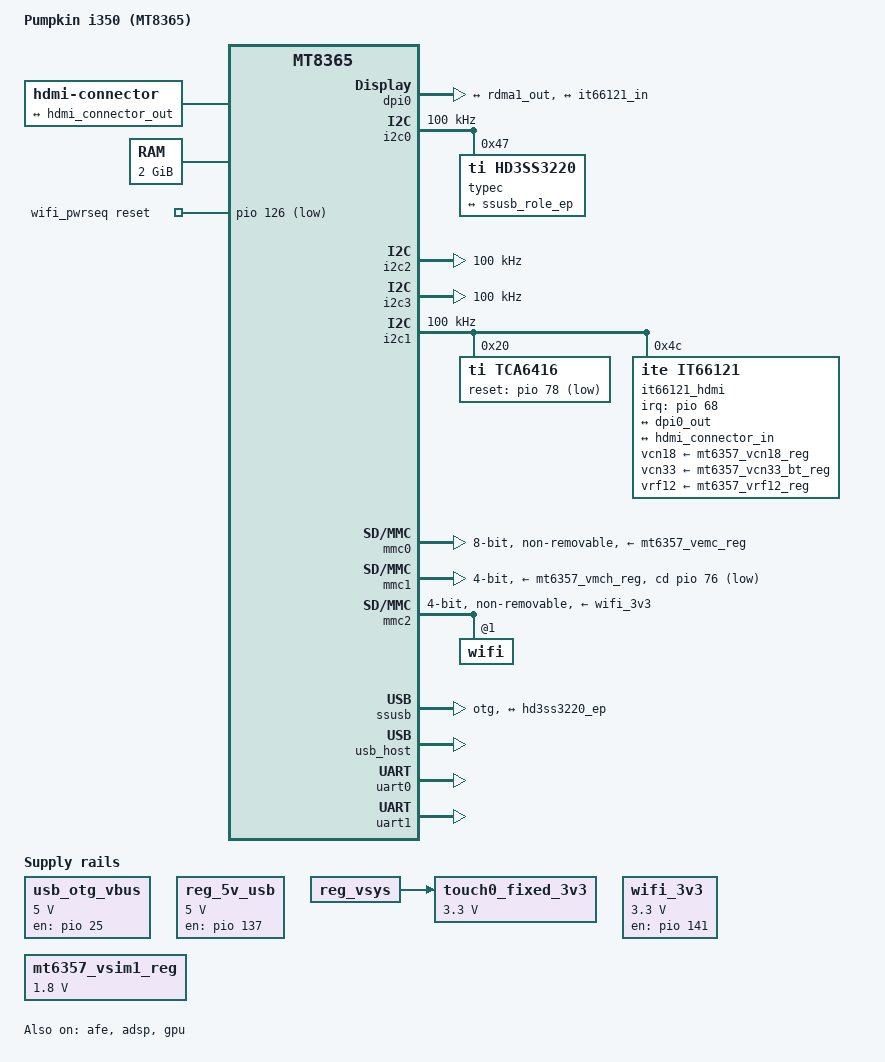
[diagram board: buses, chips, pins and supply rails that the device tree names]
// SPDX-License-Identifier: GPL-2.0
/*
 * Copyright (c) 2021-2022 BayLibre, SAS.
 * Authors:
 * Fabien Parent <fparent@baylibre.com>
 * Bernhard Rosenkränzer <bero@baylibre.com>
 * Alexandre Mergnat <amergnat@baylibre.com>
 */

/dts-v1/;

#include <dt-bindings/gpio/gpio.h>
#include <dt-bindings/input/input.h>
#include <dt-bindings/pinctrl/mt8365-pinfunc.h>
#include "mt8365.dtsi"
#include "mt6357.dtsi"

/ {
	model = "Pumpkin i350 (MT8365)";
	compatible = "mediatek,mt8365-pumpkin", "mediatek,mt8365-evk", "mediatek,mt8365";

	aliases {
		ethernet = &ethernet;
		mmc0 = &mmc0;
		mmc1 = &mmc1;
		serial0 = &uart0;
	};

	chosen {
		stdout-path = "serial0:115200n8";
	};

	connector {
		compatible = "hdmi-connector";
		label = "hdmi";
		type = "d";

		port {
			#address-cells = <1>;
			#size-cells = <0>;
			hdmi_connector_in: endpoint@0 {
				reg = <0>;
				remote-endpoint = <&hdmi_connector_out>;
			};
		};
	};

	firmware {
		optee {
			compatible = "linaro,optee-tz";
			method = "smc";
		};

		/*
		 * EL3 SCMI agent (BASE transport only). This node is enabled in
		 * source and carries its shmem so that the plain built
		 * mt8365-pumpkin.dtb -- the DTB the deb-efi-dtb eMMC boot actually
		 * loads -- is node-bearing: 038bd12c5bc4a fixed only the FID cell and
		 * explicitly left "this node must also reach the deployed DTB" open,
		 * and a treatment BL31 armed over UART-DL hands off to this eMMC
		 * kernel, not to the FIT. The SMT page is reserved as scmi_shmem below
		 * (arm,scmi.yaml requires shmem on arm,scmi-smc; with it present the
		 * node is binding-complete so dtbs_check passes). The FIT overlay
		 * mt8365-pumpkin-scmi.dtso (genio-mkfit.sh, GENIO350_SCMI=1) is
		 * unchanged: its same-path scmi_shmem node and shmem/status assignment
		 * merge onto this one, so the DRAM-boot tier still gates on a gate-on
		 * FIP while the eMMC tier is self-contained. On production firmware
		 * (no MTK_SCMI server) the enabled client's BASE probe SMC simply
		 * returns unsupported and no scmi devices register -- harmless.
		 */
		scmi: scmi {
			compatible = "arm,scmi-smc";
			/*
			 * The EL3 doorbell function ID, in the AArch64 calling
			 * convention. The firmware's SiP dispatcher keeps the
			 * 32-bit and 64-bit forms of every FID apart and matches
			 * the one against the caller's own execution state, so an
			 * AArch64 kernel calling the 32-bit form is refused rather
			 * than served.
			 */
			arm,smc-id = <0xc2000310>;
			shmem = <&scmi_shmem>;
			#address-cells = <1>;
			#size-cells = <0>;
			status = "okay";
		};
	};

	/* Pumpkin i350 has 2 GiB LPDDR4X (the EVK has 3 GiB). A too-large /memory makes
	 * the kernel allocate early page tables in the phantom top 1 GiB of non-existent
	 * RAM -> lost writes -> BUG_ON pud-conflict in paging_init. */
	memory@40000000 {
		device_type = "memory";
		reg = <0 0x40000000 0 0x80000000>;
	};

	usb_otg_vbus: regulator-0 {
		compatible = "regulator-fixed";
		regulator-name = "otg_vbus";
		regulator-min-microvolt = <5000000>;
		regulator-max-microvolt = <5000000>;
		/* Pumpkin: VBUS-drive is GPIO25 (USB_DRV), not the EVK's GPIO16 (PWM_A) */
		gpio = <&pio 25 GPIO_ACTIVE_HIGH>;
		enable-active-high;
	};

	/*
	 * 5VUSB_ENABLE -- board 5V rail that powers the Microchip LAN9512 hub and
	 * the two downstream USB-A ports. GPIO137 = 5VUSB_ENABLE per the OLogic
	 * Pumpkin GPIO workbook (i350_MT8365_GPIO_LIST). The vendor BSP DTS leaves
	 * it to the preloader/pull, but per the board GPIO map it is the hub's 5V
	 * enable, so assert it here (always-on) for the RJ45/USB-A to power up.
	 */
	reg_5v_usb: regulator-5v-usb {
		compatible = "regulator-fixed";
		regulator-name = "5vusb_enable";
		regulator-min-microvolt = <5000000>;
		regulator-max-microvolt = <5000000>;
		gpio = <&pio 137 GPIO_ACTIVE_HIGH>;
		enable-active-high;
		regulator-always-on;
		regulator-boot-on;
	};

	reg_vsys: regulator-vsys {
		compatible = "regulator-fixed";
		regulator-name = "vsys";
		regulator-always-on;
		regulator-boot-on;
	};

	touch0_fixed_3v3: regulator-vio33tp {
		compatible = "regulator-fixed";
		regulator-name = "vio33_tp";
		regulator-min-microvolt = <3300000>;
		regulator-max-microvolt = <3300000>;
		vin-supply = <&reg_vsys>;
	};

	/*
	 * MT7663S SDIO Wi-Fi 3V3 enable = WIFI_PWR_ENABLE = GPIO141 (per the
	 * OLogic GPIO workbook), used as mmc2 vmmc. MUST stay mmc-gated -- do NOT
	 * add regulator-always-on: the MT7663 needs AVDD33 to drop between boots
	 * to cold-reset, so a continuously-powered rail wedges it. Measured on the
	 * board (2026-06-21, EEPROM-baked Image, mt8365-wifi-stability.sh): GPIO141
	 * mmc-gated = 4/4 cold-boot enumerations (+ wlan0); GPIO141 + always-on =
	 * 0/6.
	 */
	wifi_3v3: regulator-wifi-3v3 {
		compatible = "regulator-fixed";
		regulator-name = "wifi_pwr_en";
		regulator-min-microvolt = <3300000>;
		regulator-max-microvolt = <3300000>;
		gpio = <&pio 141 GPIO_ACTIVE_HIGH>;
		enable-active-high;
	};

	/* MT7663S reset: MT7663_SYSRSTB = GPIO126 (active-low), released 100 ms
	 * after vmmc (WIFI_PWR_ENABLE) is up, before SDIO cmd5. */
	wifi_pwrseq: mmc2-pwrseq {
		compatible = "mmc-pwrseq-simple";
		reset-gpios = <&pio 126 GPIO_ACTIVE_LOW>;
		post-power-on-delay-ms = <100>;
	};

	reserved-memory {
		#address-cells = <2>;
		#size-cells = <2>;
		ranges;

		/* 192 KiB reserved for ARM Trusted Firmware (BL31) */
		bl31_secmon_reserved: secmon@43000000 {
			no-map;
			reg = <0 0x43000000 0 0x30000>;
		};

		/* SCMI SMT mailbox page (0x43030000), the doorbell the arm,scmi-smc
		 * client rings; sits in the gap after BL31's secmon carveout (ends
		 * 0x43030000) and before OP-TEE (0x43200000). Reserved no-map here so
		 * the eMMC-booted kernel is node-bearing; the FIT overlay carries the
		 * same-path node so fdtoverlay merges them without conflict. */
		scmi_shmem: shmem@43030000 {
			compatible = "arm,scmi-shmem";
			reg = <0 0x43030000 0 0x1000>;
			no-map;
		};

		/* 12 MiB reserved for OP-TEE (BL32)
		 * +-----------------------+ 0x43e0_0000
		 * |      SHMEM 2MiB       |
		 * +-----------------------+ 0x43c0_0000
		 * |        | TA_RAM  8MiB |
		 * + TZDRAM +--------------+ 0x4340_0000
		 * |        | TEE_RAM 2MiB |
		 * +-----------------------+ 0x4320_0000
		 */
		optee_reserved: optee@43200000 {
			no-map;
			reg = <0 0x43200000 0 0x00c00000>;
		};

		/*
		 * HiFi 4 audio DSP (SOF) carveout. adsp_mem is the 16 MiB
		 * firmware region at DRAM_BASE 0x60000000 (identity-mapped to
		 * the DSP view; DRAM_SIZE 0x1000000, host-shared window at
		 * SRAM1_BASE 0x60800000), transcribed from the open SOF mt8365
		 * platform memory map (sof/src/platform/mt8365/.../memory.h).
		 * adsp_dma_mem is the host<->DSP DMA pool immediately above it.
		 */
		adsp_dma_mem: memory@61000000 {
			compatible = "shared-dma-pool";
			no-map;
			reg = <0 0x61000000 0 0x100000>;
		};

		adsp_mem: memory@60000000 {
			compatible = "shared-dma-pool";
			no-map;
			reg = <0 0x60000000 0 0x1000000>;
		};
	};

	sound: sound {
		compatible = "mediatek,mt8365-mt6357";
		/*
		 * No DMIC: GPIO117/118/119 are CAM2_RST/CAM0_RST/CAM1_RST on the
		 * Pumpkin (per the OLogic GPIO workbook), not a digital mic. The
		 * EVK-clone aud_dmic_pins/dmic-mode have been dropped; analog audio
		 * runs through the MT6357 codec (AUD MOSI/MISO).
		 */
		pinctrl-names = "default",
				"miso_off",
				"miso_on",
				"mosi_off",
				"mosi_on";
		pinctrl-0 = <&aud_default_pins>;
		pinctrl-1 = <&aud_miso_off_pins>;
		pinctrl-2 = <&aud_miso_on_pins>;
		pinctrl-3 = <&aud_mosi_off_pins>;
		pinctrl-4 = <&aud_mosi_on_pins>;
		mediatek,platform = <&afe>;
	};

};

&afe {
	status = "okay";
};

&adsp {
	memory-region = <&adsp_dma_mem>, <&adsp_mem>;
	status = "okay";
};

&cpu0 {
	proc-supply = <&mt6357_vproc_reg>;
	sram-supply = <&mt6357_vsram_proc_reg>;
};

&cpu1 {
	proc-supply = <&mt6357_vproc_reg>;
	sram-supply = <&mt6357_vsram_proc_reg>;
};

&cpu2 {
	proc-supply = <&mt6357_vproc_reg>;
	sram-supply = <&mt6357_vsram_proc_reg>;
};

&cpu3 {
	proc-supply = <&mt6357_vproc_reg>;
	sram-supply = <&mt6357_vsram_proc_reg>;
};

&dpi0 {
	pinctrl-0 = <&dpi_default_pins>;
	pinctrl-1 = <&dpi_idle_pins>;
	pinctrl-names = "default", "sleep";
	/*
	 * Ethernet and HDMI (DPI0) share GPIO0-15 -- only one can be enabled at a
	 * time, and the physical switch SW2101 must be set to the HDMI position.
	 * HDMI is the Pumpkin's only display output (no LCM); &ethernet below is
	 * disabled to free these pins. The SoC RMII MAC is unused anyway (the live
	 * network path is a USB ethernet dongle).
	 */
	status = "okay";

	ports {
		#address-cells = <1>;
		#size-cells = <0>;

		port@0 {
			#address-cells = <1>;
			#size-cells = <0>;
			reg = <0>;
			dpi0_in: endpoint@1 {
				reg = <1>;
				remote-endpoint = <&rdma1_out>;
			};
		};

		port@1 {
			#address-cells = <1>;
			#size-cells = <0>;
			reg = <1>;
			dpi0_out: endpoint@1 {
				reg = <1>;
				remote-endpoint = <&it66121_in>;
			};
		};
	};
};

&ethernet {
	pinctrl-0 = <&ethernet_pins>;
	pinctrl-names = "default";
	phy-handle = <&eth_phy>;
	phy-mode = "rmii";
	/*
	 * SoC RMII MAC -- UNWIRED on the Pumpkin and left disabled. The RJ45 on
	 * this board is a Microchip LAN9512 USB hub+Ethernet (smsc95xx), reached
	 * via the TUSB322I/role-switch USB path, NOT this MAC: no PHY answers on
	 * its MDIO (verified, all 32 addresses) and GPIO0-15 here are hard-wired
	 * to HDMI. Kept only to document the dead RMII pinmux; do not enable.
	 * (There is no SW2101 mux switch on the Pumpkin -- that is an EVK part.)
	 */
	status = "disabled";

	mdio {
		#address-cells = <1>;
		#size-cells = <0>;

		eth_phy: ethernet-phy@0 {
			reg = <0>;
		};
	};
};

/*
 * MT7663S Wi-Fi PMIC companion 3V3 rail -- kept always-on so the SDIO card
 * responds (the GPIO141-gated wifi_3v3 is mmc2 vmmc; without this LDO on the
 * card never answers cmd5/cmd1). The EVK's vibr/vsim2 "RMII PHY" always-on
 * rails were dropped -- the Pumpkin has no RMII PHY (RJ45 = LAN9512 USB), no
 * vibrator, and no SIM.
 */
&mt6357_vcn33_wifi_reg {
	regulator-always-on;
};

&i2c0 {
	clock-frequency = <100000>;
	pinctrl-0 = <&i2c0_pins>;
	pinctrl-names = "default";
	status = "okay";

	/*
	 * The board's TI TUSB322I Type-C port controller at 0x47 (IRQ GPIO71 =
	 * USB_INT) does CC/role detection in hardware. Bound with the
	 * register-compatible ti,hd3ss3220 driver (proven on the i500's identical
	 * i2c0@0x47 TUSB322I, canonical 03c5a1e) as the usb-role-switch source --
	 * polled (no interrupt declared, so a userspace role override survives).
	 * Replaces the earlier GPIO39-IDDIG usb-conn-gpio path.
	 */
	typec@47 {
		compatible = "ti,hd3ss3220";
		reg = <0x47>;
		connector {
			compatible = "usb-c-connector";
			label = "usb-c";
			data-role = "dual";
			power-role = "dual";
			port {
				hd3ss3220_ep: endpoint {
					remote-endpoint = <&ssusb_role_ep>;
				};
			};
		};
	};
};

&i2c2 {
	clock-frequency = <100000>;
	pinctrl-0 = <&i2c2_pins>;
	pinctrl-names = "default";
	status = "okay";
};

&i2c3 {
	clock-frequency = <100000>;
	pinctrl-0 = <&i2c3_pins>;
	pinctrl-names = "default";
	status = "okay";
};

&i2c1 {
	#address-cells = <1>;
	#size-cells = <0>;
	clock-div = <2>;
	clock-frequency = <100000>;
	pinctrl-0 = <&i2c1_pins>;
	pinctrl-names = "default";
	status = "okay";

	/*
	 * TI TCA6416 I2C GPIO expander. On the Pumpkin this drives camera
	 * standby (cam_stdby), NOT the USB hub (the hub comes up via the
	 * gpio-usb-b-connector role switch on &ssusb + the 5VUSB_ENABLE rail).
	 * Reset is SoC GPIO78; interrupt is SoC GPIO79. From the vendor BSP DTS.
	 */
	tca6416: gpio@20 {
		compatible = "ti,tca6416";
		reg = <0x20>;
		reset-gpios = <&pio 78 GPIO_ACTIVE_LOW>;
		pinctrl-0 = <&tca6416_pins>;
		pinctrl-names = "default";
		gpio-controller;
		#gpio-cells = <2>;
		/*
		 * Vendor BSP hogs expander lines 12+2 low for camera standby
		 * (cam_stdby); omitted here as the Pumpkin DTS has no camera node.
		 */
	};

	it66121_hdmi: hdmi@4c {
		compatible = "ite,it66121";
		reg = <0x4c>;
		#sound-dai-cells = <0>;
		interrupt-parent = <&pio>;
		interrupts = <68 IRQ_TYPE_LEVEL_LOW>;
		pinctrl-0 = <&ite_pins>;
		pinctrl-names = "default";
		/* No reset-gpios: GPIO69 is the EVK-clone reset, not a usable
		 * it66121 reset on the Pumpkin i350 -- pulsing it (the driver's
		 * it66121_hw_reset) leaves the chip unresponsive on i2c, so the
		 * ID read fails and probe returns -ENODEV silently (dpi then
		 * "Failed to get bridge"). The chip self-inits from power-on;
		 * the driver makes reset-gpios optional. Same fix as the i500
		 * (mt8183-pumpkin.dts). */
		/* Pumpkin it66121 power rails per the vendor BSP DTS (mtk-v5.10) --
		 * vcn33_bt + vcn18, NOT the EVK's vibr/vsim2 (which left the chip
		 * mis-powered -> no i2c response). See the vendor-DTS audit section. */
		vcn18-supply = <&mt6357_vcn18_reg>;
		vcn33-supply = <&mt6357_vcn33_bt_reg>;
		vrf12-supply = <&mt6357_vrf12_reg>;

		ports {
			#address-cells = <1>;
			#size-cells = <0>;

			port@0 {
				#address-cells = <1>;
				#size-cells = <0>;
				reg = <0>;
				it66121_in: endpoint@0 {
					reg = <0>;
					bus-width = <12>;
					remote-endpoint = <&dpi0_out>;
				};
			};

			port@1 {
				#address-cells = <1>;
				#size-cells = <0>;
				reg = <1>;
				hdmi_connector_out: endpoint@0 {
					reg = <0>;
					remote-endpoint = <&hdmi_connector_in>;
				};
			};
		};
	};
};

&gpu {
	mali-supply = <&mt6357_vcore_reg>;
	status = "okay";
};

&mfg {
	domain-supply = <&mt6357_vsram_others_reg>;
};

&mmc0 {
	assigned-clock-parents = <&topckgen CLK_TOP_MSDCPLL>;
	assigned-clocks = <&topckgen CLK_TOP_MSDC50_0_SEL>;
	bus-width = <8>;
	cap-mmc-highspeed;
	cap-mmc-hw-reset;
	hs400-ds-delay = <0x12012>;
	max-frequency = <200000000>;
	mmc-hs200-1_8v;
	mmc-hs400-1_8v;
	no-sd;
	no-sdio;
	non-removable;
	pinctrl-0 = <&mmc0_default_pins>;
	pinctrl-1 = <&mmc0_uhs_pins>;
	pinctrl-names = "default", "state_uhs";
	vmmc-supply = <&mt6357_vemc_reg>;
	vqmmc-supply = <&mt6357_vio18_reg>;
	status = "okay";
};

&mmc1 {
	bus-width = <4>;
	cap-sd-highspeed;
	cd-gpios = <&pio 76 GPIO_ACTIVE_LOW>;
	/*
	 * The msdc1 SD source clock is 208 MHz (univpll2_d2), and SDR104's spec
	 * maximum is 208 MHz. A max-frequency of 200 MHz made the core request
	 * 200 MHz, which msdc_set_mclk rounds DOWN to a source/2 divider =
	 * 104 MHz (mode 0x0) -- half the achievable rate (~45 MB/s). Setting it
	 * to the full 208 MHz source lets SDR104 run at source/1 (mode 0x1, no
	 * divisor) = 208 MHz: ~2x the bus clock, strobe-free, standard SD
	 * signalling. HW-validated on the SanDisk SR128 (Genio 350 Pumpkin):
	 * 69 MB/s sustained read / 68.6 MB/s write, md5-correct, 0 CRC errors.
	 * (SD DDR200 does not help on this SoC: its mode-0x2 clock is mux-walled
	 * at 52 MHz DDR and its mode-0x3 104 MHz DDR gives an all-zero RX eye.)
	 */
	max-frequency = <208000000>;
	pinctrl-0 = <&mmc1_default_pins>;
	pinctrl-1 = <&mmc1_uhs_pins>;
	pinctrl-names = "default", "state_uhs";
	sd-uhs-sdr104;
	sd-uhs-sdr50;
	vmmc-supply = <&mt6357_vmch_reg>;
	vqmmc-supply = <&mt6357_vmc_reg>;
	status = "okay";
};

/* MT7663S SDIO Wi-Fi -- auto-probes on the SDIO bus; calibration comes from the
 * EEPROM_MT7663.bin firmware fallback in the mt76 driver, not a DT node. */
&mmc2 {
	bus-width = <4>;
	cap-sd-highspeed;
	sd-uhs-sdr25;
	sd-uhs-sdr50;
	sd-uhs-sdr104;
	max-frequency = <200000000>;
	cap-sdio-irq;
	keep-power-in-suspend;
	enable-sdio-wakeup;
	mediatek,disable-single-burst;
	non-removable;
	mmc-pwrseq = <&wifi_pwrseq>;
	pinctrl-0 = <&mmc2_default_pins>;
	pinctrl-1 = <&mmc2_uhs_pins>;
	pinctrl-names = "default", "state_uhs";
	vmmc-supply = <&wifi_3v3>;
	vqmmc-supply = <&mt6357_vcn18_reg>;
	status = "okay";

	#address-cells = <1>;
	#size-cells = <0>;

	/* MT7663 Wi-Fi (SDIO function 1): vendor RF calibration + MAC from the
	 * AIoT-BSP EEPROM_MT7663.bin. mt76 reads mediatek,eeprom-data from this
	 * function node when the on-die efuse is blank, giving the real MAC
	 * (00:0c:43:26:60:00) + per-channel TX-power cal instead of mt76's
	 * random MAC + default cal. */
	wifi@1 {
		reg = <1>;
		mediatek,eeprom-data = [
			63 76 02 03 00 0c 43 26 60 00 63 76 c3 14 00 80
			02 00 63 76 c3 14 00 00 00 00 00 00 00 00 00 00
			00 00 00 00 00 00 00 00 00 00 00 00 00 00 e7 00
			00 00 80 00 00 00 08 00 01 00 00 00 00 00 00 00
			00 00 00 00 00 00 00 00 00 00 9c 00 00 00 03 00
			00 00 00 00 00 00 00 00 00 00 00 00 00 00 00 00
			00 00 00 00 00 00 00 00 00 00 00 00 00 00 00 00
			c6 c6 c4 c4 c2 c1 00 c2 00 c2 c1 00 00 81 84 85
			c2 c2 c1 81 81 82 85 86 00 c5 c5 c2 c2 00 c3 00
			c3 c1 00 00 82 84 84 c3 c3 c1 00 00 82 84 84 00
			c3 c3 c1 00 00 82 84 84 00 00 00 00 00 00 00 00
			cb dc 1f 17 17 17 11 09 09 09 40 40 40 40 00 00
			00 00 00 00 00 00 00 00 00 00 00 00 00 00 00 00
			00 00 00 00 00 00 00 00 00 00 00 00 00 00 00 3c
			10 c3 c6 25 00 00 00 00 00 00 00 00 00 00 00 00
			10 43 c6 25 00 00 00 00 00 00 00 00 00 00 00 00
			00 00 00 00 00 00 00 00 00 00 00 00 00 00 00 00
			00 00 00 00 00 00 00 00 00 00 00 00 00 00 00 00
			00 00 00 00 00 00 00 00 00 00 00 00 00 00 00 00
			03 00 00 00 00 00 00 77 07 00 00 00 00 00 00 00
			00 00 00 00 00 00 00 00 00 00 00 00 00 00 00 00
			00 00 00 00 08 00 e0 01 00 00 00 00 00 00 00 00
			00 00 00 00 00 00 00 00 00 00 00 00 00 00 00 00
			00 00 00 00 00 00 00 00 00 10 10 28 00 00 00 00
			00 00 00 00 00 00 00 00 00 00 00 00 00 00 00 00
			00 00 00 00 00 00 00 00 00 00 00 00 00 00 00 00
			00 00 00 00 00 00 00 00 00 00 00 00 00 00 00 00
			12 12 02 00 00 00 00 05 00 00 00 00 86 00 00 00
			00 00 00 00 00 00 00 00 00 00 00 00 00 00 00 00
			00 00 00 00 00 00 00 00 00 00 00 00 00 00 00 00
			00 00 00 00 00 00 00 00 00 00 00 00 00 00 00 00
			cc d8 cc d8 cc d8 cc d8 cc d8 cc d8 cc d8 cc d8
			1f 12 12 12 13 06 06 06 40 40 40 40 00 00 00 00
			00 00 00 00 00 00 00 00 00 00 00 00 00 00 00 00
			00 00 00 00 00 00 00 00 00 00 00 00 00 00 00 00
			00 00 00 00 00 00 00 00 00 00 00 3a 00 00 00 00
			40 40 40 41 cb 22 41 cb 22 41 cb 22 41 cb 22 41
			cb 22 41 cb 22 41 cb 22 41 cb 22 00 00 00 00 00
			00 00 00 00 00 00 00 00 00 00 00 00 00 00 00 00
			00 00 00 00 00 00 00 00 00 00 00 00 00 00 00 00
			00 00 00 00 00 00 00 00 00 00 00 00 00 00 00 00
			00 00 00 00 00 00 00 00 00 00 00 00 00 00 00 00
			00 00 00 00 00 00 00 00 00 00 00 00 00 00 00 00
			40 40 40 41 cb 22 41 cb 22 41 cb 22 41 cb 22 41
			cb 22 41 cb 22 41 cb 22 41 cb 22 00 00 00 00 00
			00 00 00 00 00 00 00 00 00 00 00 00 00 00 00 00
			00 00 00 00 00 00 00 00 00 00 00 00 00 00 00 00
			00 00 00 00 00 00 00 00 00 00 00 00 00 00 00 00
			00 00 00 00 00 00 00 00 00 00 00 00 00 00 00 00
			00 00 00 00 00 00 00 00 00 00 00 00 00 00 00 00
			00 00 00 00 00 00 00 00 00 00 00 00 00 00 00 00
			00 00 00 00 00 00 00 00 00 00 00 00 00 00 00 00
			00 00 00 00 00 00 00 00 00 00 00 00 00 00 00 00
			00 00 00 00 00 00 00 00 00 00 00 00 00 00 00 00
			00 00 00 00 00 00 00 00 00 00 00 00 00 00 00 00
			00 00 00 00 00 00 00 00 00 00 00 00 00 00 00 00
			00 00 00 00 00 00 00 00 00 00 00 00 00 00 00 00
			00 00 00 00 00 00 00 00 00 00 00 00 00 00 00 00
			00 00 00 00 00 00 00 00 00 00 00 00 00 00 00 00
			00 00 00 00 00 00 00 00 00 00 00 00 00 00 00 00
			00 00 00 00 00 00 00 00 00 00 00 00 00 00 00 00
			00 00 00 00 00 00 00 00 00 00 00 00 00 00 00 00
			00 00 00 00 00 00 00 00 00 00 00 00 00 00 00 00
			00 00 00 00 00 00 00 00 00 00 00 00 00 00 00 00
			00 00 00 00 00 00 00 00 00 00 00 00 00 00 00 00
			00 00 00 00 00 00 00 00 00 00 00 00 00 00 00 00
			00 00 00 00 00 00 00 00 00 00 00 00 00 00 00 00
			00 00 00 00 00 00 00 00 00 00 00 00 00 00 00 00
			00 00 00 00 00 00 00 00 00 00 00 00 00 00 00 00
			00 00 00 00 00 00 00 00 00 00 00 00 00 00 00 00
			00 00 00 00 00 00 00 00 00 00 00 00 00 00 00 00
			00 00 00 00 00 00 00 00 00 00 00 00 00 00 00 00
			00 00 00 00 00 00 00 00 00 00 00 00 00 00 00 00
			00 00 00 00 00 00 00 00 00 00 00 00 00 00 00 00
			00 00 00 00 00 00 00 00 00 00 00 00 00 00 00 00
			00 00 00 00 00 00 00 00 00 00 00 00 00 00 00 00
			00 00 00 00 00 00 00 00 00 00 00 00 00 00 00 00
			00 00 00 00 00 00 00 00 00 00 00 00 00 00 00 00
			00 00 00 00 00 00 00 00 00 00 00 00 00 00 00 00
			00 00 00 00 00 00 00 00 00 00 00 00 00 00 00 00
			00 00 00 00 00 00 00 00 00 00 00 00 00 00 00 00
			00 00 00 00 00 00 00 00 00 00 00 00 00 00 00 00
			00 00 00 00 00 00 00 00 00 00 00 00 00 00 00 00
			00 00 00 00 00 00 00 00 00 00 00 00 00 00 00 00
			00 00 00 00 00 00 00 00 00 00 00 00 00 00 00 00
			00 00 00 00 00 00 00 00 00 00 00 00 00 00 00 00
			00 00 00 00 00 00 00 00 00 00 00 00 00 00 00 00
			00 00 00 00 00 00 00 00 00 00 00 00 00 00 00 00
			00 00 00 00 00 00 00 00 00 00 00 00 00 00 00 00
			00 00 00 00 00 00 00 00 00 00 00 00 00 00 00 00
			00 00 00 00 00 00 00 00 00 00 00 00 00 00 00 00
			00 00 00 00 00 00 00 00 00 00 00 00 00 00 00 00
			00 00 00 00 00 00 00 00 00 00 00 00 00 00 00 00
			00 00 00 00 00 00 00 00 00 00 00 00 00 00 00 00
			00 00 00 00 00 00 00 00 00 00 00 00 00 00 00 00
			00 00 00 00 00 00 00 00 00 00 00 00 00 00 00 00
		];
	};
};

&mt6357_pmic {
	interrupts-extended = <&pio 145 IRQ_TYPE_LEVEL_HIGH>;
	interrupt-controller;
	#interrupt-cells = <2>;
	mediatek,micbias0-microvolt = <1900000>;
	mediatek,micbias1-microvolt = <1700000>;
};

&mt6357_vsim1_reg {
	regulator-min-microvolt = <1800000>;
	regulator-max-microvolt = <1800000>;
};

&pio {
	aud_default_pins: audiodefault-pins {
		clk-dat-pins {
			pinmux = <MT8365_PIN_72_CMDAT4__FUNC_I2S3_BCK>,
				 <MT8365_PIN_73_CMDAT5__FUNC_I2S3_LRCK>,
				 <MT8365_PIN_74_CMDAT6__FUNC_I2S3_MCK>,
				 <MT8365_PIN_75_CMDAT7__FUNC_I2S3_DO>;
		};
	};

	aud_miso_off_pins: misooff-pins {
		clk-dat-pins {
			pinmux = <MT8365_PIN_53_AUD_CLK_MISO__FUNC_GPIO53>,
				 <MT8365_PIN_54_AUD_SYNC_MISO__FUNC_GPIO54>,
				 <MT8365_PIN_55_AUD_DAT_MISO0__FUNC_GPIO55>,
				 <MT8365_PIN_56_AUD_DAT_MISO1__FUNC_GPIO56>;
			input-enable;
			bias-pull-down;
			drive-strength = <2>;
		};
	};

	aud_miso_on_pins: misoon-pins {
		clk-dat-pins {
			pinmux = <MT8365_PIN_53_AUD_CLK_MISO__FUNC_AUD_CLK_MISO>,
				 <MT8365_PIN_54_AUD_SYNC_MISO__FUNC_AUD_SYNC_MISO>,
				 <MT8365_PIN_55_AUD_DAT_MISO0__FUNC_AUD_DAT_MISO0>,
				 <MT8365_PIN_56_AUD_DAT_MISO1__FUNC_AUD_DAT_MISO1>;
			drive-strength = <6>;
		};
	};

	aud_mosi_off_pins: mosioff-pins {
		clk-dat-pins {
			pinmux = <MT8365_PIN_49_AUD_CLK_MOSI__FUNC_GPIO49>,
				 <MT8365_PIN_50_AUD_SYNC_MOSI__FUNC_GPIO50>,
				 <MT8365_PIN_51_AUD_DAT_MOSI0__FUNC_GPIO51>,
				 <MT8365_PIN_52_AUD_DAT_MOSI1__FUNC_GPIO52>;
			input-enable;
			bias-pull-down;
			drive-strength = <2>;
		};
	};

	aud_mosi_on_pins: mosion-pins {
		clk-dat-pins {
			pinmux = <MT8365_PIN_49_AUD_CLK_MOSI__FUNC_AUD_CLK_MOSI>,
				 <MT8365_PIN_50_AUD_SYNC_MOSI__FUNC_AUD_SYNC_MOSI>,
				 <MT8365_PIN_51_AUD_DAT_MOSI0__FUNC_AUD_DAT_MOSI0>,
				 <MT8365_PIN_52_AUD_DAT_MOSI1__FUNC_AUD_DAT_MOSI1>;
			drive-strength = <6>;
		};
	};

	dpi_default_pins: dpi-default-pins {
		pins {
			pinmux = <MT8365_PIN_0_GPIO0__FUNC_DPI_D0>,
				 <MT8365_PIN_1_GPIO1__FUNC_DPI_D1>,
				 <MT8365_PIN_2_GPIO2__FUNC_DPI_D2>,
				 <MT8365_PIN_3_GPIO3__FUNC_DPI_D3>,
				 <MT8365_PIN_4_GPIO4__FUNC_DPI_D4>,
				 <MT8365_PIN_5_GPIO5__FUNC_DPI_D5>,
				 <MT8365_PIN_6_GPIO6__FUNC_DPI_D6>,
				 <MT8365_PIN_7_GPIO7__FUNC_DPI_D7>,
				 <MT8365_PIN_8_GPIO8__FUNC_DPI_D8>,
				 <MT8365_PIN_9_GPIO9__FUNC_DPI_D9>,
				 <MT8365_PIN_10_GPIO10__FUNC_DPI_D10>,
				 <MT8365_PIN_11_GPIO11__FUNC_DPI_D11>,
				 <MT8365_PIN_12_GPIO12__FUNC_DPI_DE>,
				 <MT8365_PIN_13_GPIO13__FUNC_DPI_VSYNC>,
				 <MT8365_PIN_14_GPIO14__FUNC_DPI_CK>,
				 <MT8365_PIN_15_GPIO15__FUNC_DPI_HSYNC>;
			drive-strength = <4>;
		};
	};

	dpi_idle_pins: dpi-idle-pins {
		pins {
			pinmux = <MT8365_PIN_0_GPIO0__FUNC_GPIO0>,
				 <MT8365_PIN_1_GPIO1__FUNC_GPIO1>,
				 <MT8365_PIN_2_GPIO2__FUNC_GPIO2>,
				 <MT8365_PIN_3_GPIO3__FUNC_GPIO3>,
				 <MT8365_PIN_4_GPIO4__FUNC_GPIO4>,
				 <MT8365_PIN_5_GPIO5__FUNC_GPIO5>,
				 <MT8365_PIN_6_GPIO6__FUNC_GPIO6>,
				 <MT8365_PIN_7_GPIO7__FUNC_GPIO7>,
				 <MT8365_PIN_8_GPIO8__FUNC_GPIO8>,
				 <MT8365_PIN_9_GPIO9__FUNC_GPIO9>,
				 <MT8365_PIN_10_GPIO10__FUNC_GPIO10>,
				 <MT8365_PIN_11_GPIO11__FUNC_GPIO11>,
				 <MT8365_PIN_12_GPIO12__FUNC_GPIO12>,
				 <MT8365_PIN_13_GPIO13__FUNC_GPIO13>,
				 <MT8365_PIN_14_GPIO14__FUNC_GPIO14>,
				 <MT8365_PIN_15_GPIO15__FUNC_GPIO15>;
		};
	};

	ethernet_pins: ethernet-pins {
		rmii_pins {
			pinmux = <MT8365_PIN_0_GPIO0__FUNC_EXT_TXD0>,
				 <MT8365_PIN_1_GPIO1__FUNC_EXT_TXD1>,
				 <MT8365_PIN_2_GPIO2__FUNC_EXT_TXD2>,
				 <MT8365_PIN_3_GPIO3__FUNC_EXT_TXD3>,
				 <MT8365_PIN_4_GPIO4__FUNC_EXT_TXC>,
				 <MT8365_PIN_5_GPIO5__FUNC_EXT_RXER>,
				 <MT8365_PIN_6_GPIO6__FUNC_EXT_RXC>,
				 <MT8365_PIN_7_GPIO7__FUNC_EXT_RXDV>,
				 <MT8365_PIN_8_GPIO8__FUNC_EXT_RXD0>,
				 <MT8365_PIN_9_GPIO9__FUNC_EXT_RXD1>,
				 <MT8365_PIN_10_GPIO10__FUNC_EXT_RXD2>,
				 <MT8365_PIN_11_GPIO11__FUNC_EXT_RXD3>,
				 <MT8365_PIN_12_GPIO12__FUNC_EXT_TXEN>,
				 <MT8365_PIN_13_GPIO13__FUNC_EXT_COL>,
				 <MT8365_PIN_14_GPIO14__FUNC_EXT_MDIO>,
				 <MT8365_PIN_15_GPIO15__FUNC_EXT_MDC>;
		};
	};

	i2c0_pins: i2c0-pins {
		pins {
			pinmux = <MT8365_PIN_57_SDA0__FUNC_SDA0_0>,
				 <MT8365_PIN_58_SCL0__FUNC_SCL0_0>;
			bias-pull-up;
		};
	};

	i2c1_pins: i2c1-pins {
		pins {
			pinmux = <MT8365_PIN_59_SDA1__FUNC_SDA1_0>,
				 <MT8365_PIN_60_SCL1__FUNC_SCL1_0>;
			bias-pull-up;
		};
	};

	i2c2_pins: i2c2-pins {
		pins {
			pinmux = <MT8365_PIN_61_SDA2__FUNC_SDA2_0>,
				 <MT8365_PIN_62_SCL2__FUNC_SCL2_0>;
			bias-pull-up;
		};
	};

	i2c3_pins: i2c3-pins {
		pins {
			pinmux = <MT8365_PIN_63_SDA3__FUNC_SDA3_0>,
				 <MT8365_PIN_64_SCL3__FUNC_SCL3_0>;
			bias-pull-up;
		};
	};

	ite_pins: ite-pins {
		irq_ite_pins {
			pinmux = <MT8365_PIN_68_CMDAT0__FUNC_GPIO68>;
			input-enable;
			bias-pull-up;
		};

		rst_ite_pins {
			pinmux = <MT8365_PIN_69_CMDAT1__FUNC_GPIO69>;
			output-high;
		};
	};

	mmc0_default_pins: mmc0-default-pins {
		clk-pins {
			pinmux = <MT8365_PIN_99_MSDC0_CLK__FUNC_MSDC0_CLK>;
			bias-pull-down;
		};

		cmd-dat-pins {
			pinmux = <MT8365_PIN_103_MSDC0_DAT0__FUNC_MSDC0_DAT0>,
				 <MT8365_PIN_102_MSDC0_DAT1__FUNC_MSDC0_DAT1>,
				 <MT8365_PIN_101_MSDC0_DAT2__FUNC_MSDC0_DAT2>,
				 <MT8365_PIN_100_MSDC0_DAT3__FUNC_MSDC0_DAT3>,
				 <MT8365_PIN_96_MSDC0_DAT4__FUNC_MSDC0_DAT4>,
				 <MT8365_PIN_95_MSDC0_DAT5__FUNC_MSDC0_DAT5>,
				 <MT8365_PIN_94_MSDC0_DAT6__FUNC_MSDC0_DAT6>,
				 <MT8365_PIN_93_MSDC0_DAT7__FUNC_MSDC0_DAT7>,
				 <MT8365_PIN_98_MSDC0_CMD__FUNC_MSDC0_CMD>;
			input-enable;
			bias-pull-up;
		};

		rst-pins {
			pinmux = <MT8365_PIN_97_MSDC0_RSTB__FUNC_MSDC0_RSTB>;
			bias-pull-up;
		};
	};

	mmc0_uhs_pins: mmc0-uhs-pins {
		clk-pins {
			pinmux = <MT8365_PIN_99_MSDC0_CLK__FUNC_MSDC0_CLK>;
			drive-strength = <MTK_DRIVE_10mA>;
			bias-pull-down = <MTK_PUPD_SET_R1R0_10>;
		};

		cmd-dat-pins {
			pinmux = <MT8365_PIN_103_MSDC0_DAT0__FUNC_MSDC0_DAT0>,
				 <MT8365_PIN_102_MSDC0_DAT1__FUNC_MSDC0_DAT1>,
				 <MT8365_PIN_101_MSDC0_DAT2__FUNC_MSDC0_DAT2>,
				 <MT8365_PIN_100_MSDC0_DAT3__FUNC_MSDC0_DAT3>,
				 <MT8365_PIN_96_MSDC0_DAT4__FUNC_MSDC0_DAT4>,
				 <MT8365_PIN_95_MSDC0_DAT5__FUNC_MSDC0_DAT5>,
				 <MT8365_PIN_94_MSDC0_DAT6__FUNC_MSDC0_DAT6>,
				 <MT8365_PIN_93_MSDC0_DAT7__FUNC_MSDC0_DAT7>,
				 <MT8365_PIN_98_MSDC0_CMD__FUNC_MSDC0_CMD>;
			input-enable;
			drive-strength = <MTK_DRIVE_10mA>;
			bias-pull-up = <MTK_PUPD_SET_R1R0_01>;
		};

		ds-pins {
			pinmux = <MT8365_PIN_104_MSDC0_DSL__FUNC_MSDC0_DSL>;
			drive-strength = <MTK_DRIVE_10mA>;
			bias-pull-down = <MTK_PUPD_SET_R1R0_10>;
		};

		rst-pins {
			pinmux = <MT8365_PIN_97_MSDC0_RSTB__FUNC_MSDC0_RSTB>;
			drive-strength = <MTK_DRIVE_10mA>;
			bias-pull-up;
		};
	};

	mmc1_default_pins: mmc1-default-pins {
		cd-pins {
			pinmux = <MT8365_PIN_76_CMDAT8__FUNC_GPIO76>;
			bias-pull-up;
		};

		clk-pins {
			pinmux = <MT8365_PIN_88_MSDC1_CLK__FUNC_MSDC1_CLK>;
			bias-pull-down = <MTK_PUPD_SET_R1R0_10>;
		};

		cmd-dat-pins {
			pinmux = <MT8365_PIN_89_MSDC1_DAT0__FUNC_MSDC1_DAT0>,
				 <MT8365_PIN_90_MSDC1_DAT1__FUNC_MSDC1_DAT1>,
				 <MT8365_PIN_91_MSDC1_DAT2__FUNC_MSDC1_DAT2>,
				 <MT8365_PIN_92_MSDC1_DAT3__FUNC_MSDC1_DAT3>,
				 <MT8365_PIN_87_MSDC1_CMD__FUNC_MSDC1_CMD>;
			input-enable;
			bias-pull-up = <MTK_PUPD_SET_R1R0_01>;
		};
	};

	mmc1_uhs_pins: mmc1-uhs-pins {
		clk-pins {
			pinmux = <MT8365_PIN_88_MSDC1_CLK__FUNC_MSDC1_CLK>;
			drive-strength = <8>;
			bias-pull-down = <MTK_PUPD_SET_R1R0_10>;
		};

		cmd-dat-pins {
			pinmux = <MT8365_PIN_89_MSDC1_DAT0__FUNC_MSDC1_DAT0>,
				 <MT8365_PIN_90_MSDC1_DAT1__FUNC_MSDC1_DAT1>,
				 <MT8365_PIN_91_MSDC1_DAT2__FUNC_MSDC1_DAT2>,
				 <MT8365_PIN_92_MSDC1_DAT3__FUNC_MSDC1_DAT3>,
				 <MT8365_PIN_87_MSDC1_CMD__FUNC_MSDC1_CMD>;
			input-enable;
			drive-strength = <6>;
			bias-pull-up = <MTK_PUPD_SET_R1R0_01>;
		};
	};

	mmc2_default_pins: mmc2-default-pins {
		cmd-dat-pins {
			pinmux = <0x5201>, <0x5301>, <0x5401>, <0x5501>, <0x5001>;
			input-enable;
			drive-strength = <4>;
			bias-pull-up = <MTK_PUPD_SET_R1R0_01>;
		};
		clk-pins {
			pinmux = <0x5101>;
			drive-strength = <4>;
			bias-pull-down = <MTK_PUPD_SET_R1R0_10>;
		};
		/* MT7663S WIFI_PWR_ENABLE (GPIO141) + MT7663_SYSRSTB (GPIO126). */
		wifi-en-pins {
			pinmux = <MT8365_PIN_141_CONN_BT_DATA__FUNC_GPIO141>,
				 <MT8365_PIN_126_DMIC3_CLK__FUNC_GPIO126>;
		};
	};

	mmc2_uhs_pins: mmc2-uhs-pins {
		cmd-dat-pins {
			pinmux = <0x5201>, <0x5301>, <0x5401>, <0x5501>, <0x5001>;
			input-enable;
			drive-strength = <8>;
			bias-pull-up = <MTK_PUPD_SET_R1R0_01>;
		};
		clk-pins {
			pinmux = <0x5101>;
			drive-strength = <8>;
			bias-pull-down = <MTK_PUPD_SET_R1R0_10>;
		};
		ds-pins {
			pinmux = <0x5601>;
			drive-strength = <8>;
			bias-pull-down = <MTK_PUPD_SET_R1R0_10>;
		};
		wifi-en-pins {
			pinmux = <MT8365_PIN_141_CONN_BT_DATA__FUNC_GPIO141>,
				 <MT8365_PIN_126_DMIC3_CLK__FUNC_GPIO126>;
		};
	};

	uart0_pins: uart0-pins {
		pins {
			pinmux = <MT8365_PIN_35_URXD0__FUNC_URXD0>,
				 <MT8365_PIN_36_UTXD0__FUNC_UTXD0>;
		};
	};

	uart1_pins: uart1-pins {
		pins {
			pinmux = <MT8365_PIN_37_URXD1__FUNC_URXD1>,
				 <MT8365_PIN_38_UTXD1__FUNC_UTXD1>;
		};
	};

	uart2_pins: uart2-pins {
		pins {
			pinmux = <MT8365_PIN_39_URXD2__FUNC_URXD2>,
				 <MT8365_PIN_40_UTXD2__FUNC_UTXD2>;
		};
	};

	usb_pins: usb-pins {
		/*
		 * LAN9512 hub reset (HUB_RST), released (driven low) so the hub
		 * comes out of reset once the role switch goes to host. Vendor
		 * BSP drives GPIO70 output-low.
		 */
		pin_hub_rst {
			pinmux = <MT8365_PIN_70_CMDAT2__FUNC_GPIO70>;
			output-low;
		};

		pin_id {
			pinmux = <MT8365_PIN_39_URXD2__FUNC_GPIO39>;
			input-enable;
			bias-pull-up;
		};

		pins_vbus {
			pinmux = <MT8365_PIN_25_KPCOL1__FUNC_USB_DRVVBUS>;
		};
	};

	tca6416_pins: tca6416-pins {
		gpio_mux_rst_n_pin {
			pinmux = <MT8365_PIN_78_CMHSYNC__FUNC_GPIO78>;
			output-high;
		};

		gpio_mux_int_n_pin {
			pinmux = <MT8365_PIN_79_CMVSYNC__FUNC_GPIO79>;
			input-enable;
			bias-pull-up;
		};
	};

};

&rdma1_out {
	remote-endpoint = <&dpi0_in>;
};

/*
 * No LCM/DSI panel on the Pumpkin -- HDMI (rdma1 -> dpi0 -> it66121) is the
 * only display output. The mt8365 mmsys routing table has no DITHER0->DPI0
 * route, so the main CRTC path's last component (dither0) must still resolve
 * to dsi0. Keep dsi0 present but DISABLED with its dither0->dsi0 link intact:
 * mtk_drm_of_ddp_path_build_one() then finds dsi0 unavailable and returns
 * -ENODEV, so the main path is skipped while the ext path (rdma1->dpi0,
 * enabled above) builds the HDMI CRTC + connector. Removing dsi0 entirely
 * instead leaves dither0 dangling -> -EINVAL "Invalid display hw pipeline";
 * disabling dsi0 *without* enabling dpi0 leaves zero valid paths -> a NULL
 * component match -> mtk_drm_probe() NULL-deref + boot loop.
 */
&dither0_out {
	remote-endpoint = <&dsi0_in>;
};

&dsi0 {
	status = "disabled";

	ports {
		port {
			dsi0_in: endpoint {
				remote-endpoint = <&dither0_out>;
			};
		};
	};
};

&ssusb {
	dr_mode = "otg";
	maximum-speed = "high-speed";
	pinctrl-0 = <&usb_pins>;
	pinctrl-names = "default";
	usb-role-switch;
	role-switch-default-mode = "host";
	vusb33-supply = <&mt6357_vusb33_reg>;
	status = "okay";

	/*
	 * CC-driven USB role: the TUSB322I at i2c0@0x47 (ti,hd3ss3220 node above)
	 * is the usb-role-switch source. Default = host so the always-on LAN9512
	 * hub enumerates on cable-out; USB-C data attach -> device (fastboot).
	 * VBUS in host mode is the SoC USB_DRVVBUS (GPIO25, in usb_pins); the
	 * 5VUSB_ENABLE hub rail (reg_5v_usb GPIO137) is always-on.
	 */
	port {
		ssusb_role_ep: endpoint {
			remote-endpoint = <&hd3ss3220_ep>;
		};
	};
};

&usb_host {
	vusb33-supply = <&mt6357_vusb33_reg>;
	status = "okay";
};

&uart0 {
	pinctrl-0 = <&uart0_pins>;
	pinctrl-names = "default";
	status = "okay";
};

&uart1 {
	pinctrl-0 = <&uart1_pins>;
	pinctrl-names = "default";
	status = "okay";
};

&uart2 {
	/* Pumpkin: pins 39/40 = IDDIG / BGF_INT_B (not URXD2/UTXD2) -> uart2 unusable */
	status = "disabled";
};
